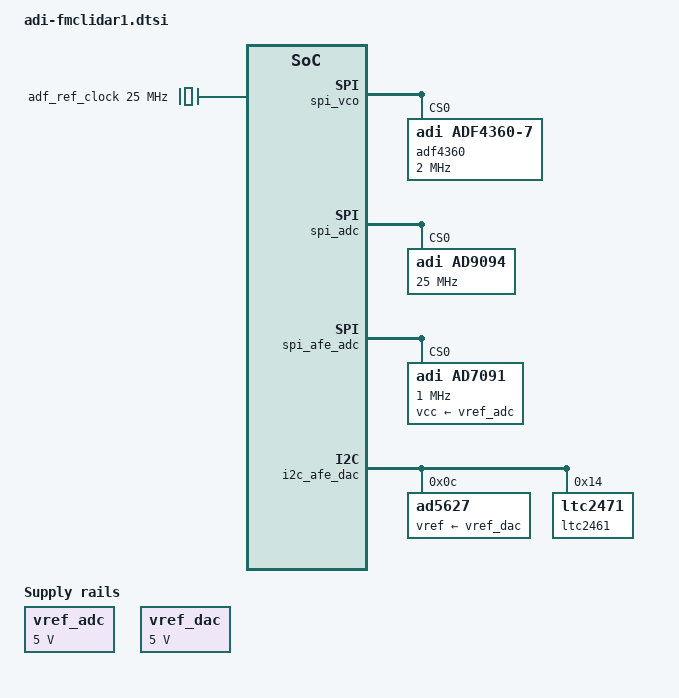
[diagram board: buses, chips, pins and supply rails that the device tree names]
#include <dt-bindings/iio/frequency/ad9528.h>

/ {
	clocks {
		adf_ref_clock: clock@0 {
			#clock-cells = <0>;
			compatible = "fixed-clock";
			clock-frequency = <25000000>;
			clock-output-names = "adf_ref_clock";
		};
	};

	vref_adc: regulator-vref-adc {
		compatible = "regulator-fixed";
		regulator-name = "vref-adc";
		regulator-min-microvolt = <5000000>;
		regulator-max-microvolt = <5000000>;
		regulator-always-on;
	};

	vref_dac: regulator-vref-dac {
		compatible = "regulator-fixed";
		regulator-name = "vref-dac";
		regulator-min-microvolt = <5000000>;
		regulator-max-microvolt = <5000000>;
		regulator-always-on;
	};
};

&spi_vco {
	adf4360: pll@0 {
		compatible = "adi,adf4360-7";
		reg = <0>;
		spi-max-frequency = <2000000>;

		#clock-cells = <0>;

		clocks = <&adf_ref_clock>;
		clock-names = "clkin";
		clock-output-names = "adf4360-7";

		adi,loop-filter-charge-pump-current-microamp = <1870>;
		adi,loop-filter-pfd-frequency-hz = <2500000>;
		adi,power-up-frequency-hz = <1000000000>;
	};
};

&spi_clkgen {
	ad9528: ad9528@0 {
		#address-cells = <1>;
		#size-cells = <0>;
		#clock-cells = <1>;
		compatible = "adi,ad9528";

		spi-max-frequency = <10000000>;
		reg = <0>;

		clocks = <&adf4360>;

		clock-output-names = "ad9528_out0", "ad9528_out1", "ad9528_out2", "ad9528_out3", "ad9528_out4", "ad9528_out5", "ad9528_out6", "ad9528_out7", "ad9528_out8", "ad9528_out9", "ad9528_out10", "ad9528_out11", "ad9528_out12", "ad9528_out13";
		adi,vcxo-freq = <1000000000>;

		adi,osc-in-diff-enable;

		/* PLL1 config */
		adi,pll1-bypass-enable;

		/* PLL2 config */
		adi,pll2-bypass-enable;

		ad9528_c0: channel@0 {
			reg = <0>;
			adi,extended-name = "ADC_SAMPLE_CLK";
			adi,driver-mode = <DRIVER_MODE_LVDS>;
			adi,divider-phase = <0>;
			adi,channel-divider = <1>;
			adi,signal-source = <SOURCE_VCO>;
		};

		ad9528_c1: channel@1 {
			reg = <1>;
			adi,extended-name = "CLK_SYSREF_ADC";
			adi,driver-mode = <DRIVER_MODE_LVDS>;
			adi,divider-phase = <0>;
			adi,channel-divider = <128>;
			adi,signal-source = <SOURCE_VCO>;
		};

		ad9528_c2: channel@2 {
			reg = <2>;
			adi,extended-name = "SYSREF_TO_FPGA";
			adi,driver-mode = <DRIVER_MODE_LVDS>;
			adi,divider-phase = <4>;
			adi,channel-divider = <128>;
			adi,signal-source = <SOURCE_VCO>;
		};

		ad9528_c3: channel@3 {
			reg = <3>;
			adi,extended-name = "ADC_DEV_CLK";
			adi,driver-mode = <DRIVER_MODE_LVDS>;
			adi,divider-phase = <0>;
			adi,channel-divider = <4>;
			adi,signal-source = <SOURCE_VCO>;
		};

		ad9528_c4: channel@4 {
			reg = <4>;
			adi,extended-name = "EXT_REFCLK_TO_FPGA";
			adi,driver-mode = <DRIVER_MODE_LVDS>;
			adi,divider-phase = <0>;
			adi,channel-divider = <4>;
			adi,signal-source = <SOURCE_VCO>;
		};

	};
};

&spi_adc {
	ad9094: ad9094@1 {
		#address-cells = <1>;
		#size-cells = <0>;
		#clock-cells = <1>;
		compatible = "adi,ad9094";

		/* SPI Setup */
		reg = <0>;
		spi-max-frequency = <25000000>;

		/* Clocks */
		clocks = <&axi_ad9094_rx_jesd>, <&ad9528 0>, <&ad9528 1>;
		clock-names = "jesd_adc_clk", "adc_clk", "adc_sysref";
	};
};

&spi_afe_adc {
	ad7091: ad7091@0 {
		compatible = "adi,ad7091";
		reg = <0>;
		spi-max-frequency = <1000000>;
		spi-cpol;
		vcc-supply = <&vref_adc>;
	};
};

&i2c_afe_dac {
	ad5627@0c {
		compatible = "ad5627";
		reg = <0x0c>;

		vref-supply = <&vref_dac>;
	};

	ltc2461@14 {
		compatible = "ltc2471";
		reg = <0x14>;
	};
};
